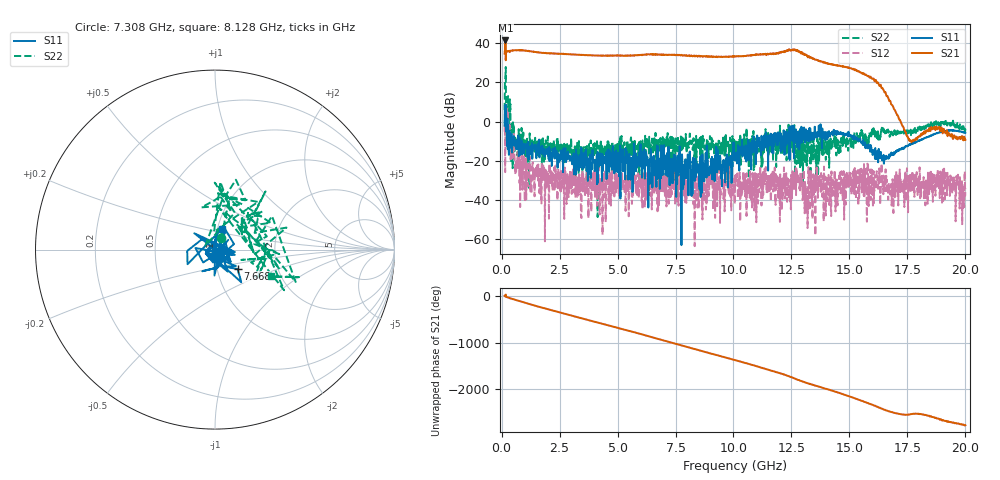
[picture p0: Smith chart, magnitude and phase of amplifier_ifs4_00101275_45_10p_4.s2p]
!Created with skrf (http://scikit-rf.org).
# GHz S RI R 50.0
!freq ReS11 ImS11 ReS21 ImS21 ReS12 ImS12 ReS22 ImS22
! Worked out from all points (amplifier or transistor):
!   1601 points, 130 MHz to 20 GHz, reference 50 ohm
!   highest |S21| = 41.4 dB at 167.3 MHz (marker M1)
!   |S21| within 3 dB of that: 159.7 MHz to 170.9 MHz (11.28 MHz wide, 6.82 % of centre)
!   unconditionally stable (mu >= 1): 16.4 GHz to 18.73 GHz; 19.15 GHz to 19.36 GHz; 19.47 GHz to end of sweep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
!   at 3.433 GHz: K = 2.71, MAG = 34.4 dB, |S12| = -49.0 dB
!   at 10.06 GHz: K = 1.20, MSG = 30.4 dB, |S12| = -27.7 dB
!   at 20 GHz: K = 31.62, MAG = -5.6 dB, |S12| = -34.1 dB
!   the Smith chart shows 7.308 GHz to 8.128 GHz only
!   S11 on the Smith chart (normalised r, x): 7.308 GHz: 1.01, -0.05; 7.668 GHz: 1.25, -0.28; 8.128 GHz: 1.05, +0.24
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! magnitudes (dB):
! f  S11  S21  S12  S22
! 130 MHz  -2.2  34.7  -5.2  5.9
! 167.3 MHz  8.1  41.4  -1.2  23.1
! 266.6 MHz  -14.1  35.8  1.1  11.0
! 490.1 MHz  -11.9  36.3  -11.6  -0.4
! 1.074 GHz  -13.2  36.2  -27.8  -11.2
! 3.446 GHz  -21.9  34.0  -49.2  -16.7
! 6.762 GHz  -21.4  34.2  -25.2  -12.6
! 7.308 GHz  -31.3  34.1  -35.9  -22.6
! 7.668 GHz  -15.6  34.0  -28.4  -9.4
! 8.128 GHz  -18.4  33.3  -26.5  -9.3
! 9.556 GHz  -22.7  33.0  -31.4  -8.2
! 10.06 GHz  -16.8  33.1  -27.7  -10.1
! 11.32 GHz  -7.0  34.4  -31.7  -10.7
! 12.03 GHz  -6.7  35.2  -37.9  -8.3
! 12.82 GHz  -5.7  35.8  -30.3  -17.2
! 13.17 GHz  -5.0  33.7  -36.3  -15.7
! 13.38 GHz  -9.3  32.3  -40.1  -18.6
! 15.69 GHz  -13.6  23.9  -29.1  -7.1
! 16.7 GHz  -17.6  11.3  -31.2  -4.9
! 17.64 GHz  -11.6  -9.8  -33.6  -4.1
! 18.68 GHz  -6.4  -3.5  -32.2  -1.0
! 20 GHz  -5.8  -9.3  -34.1  -3.7
